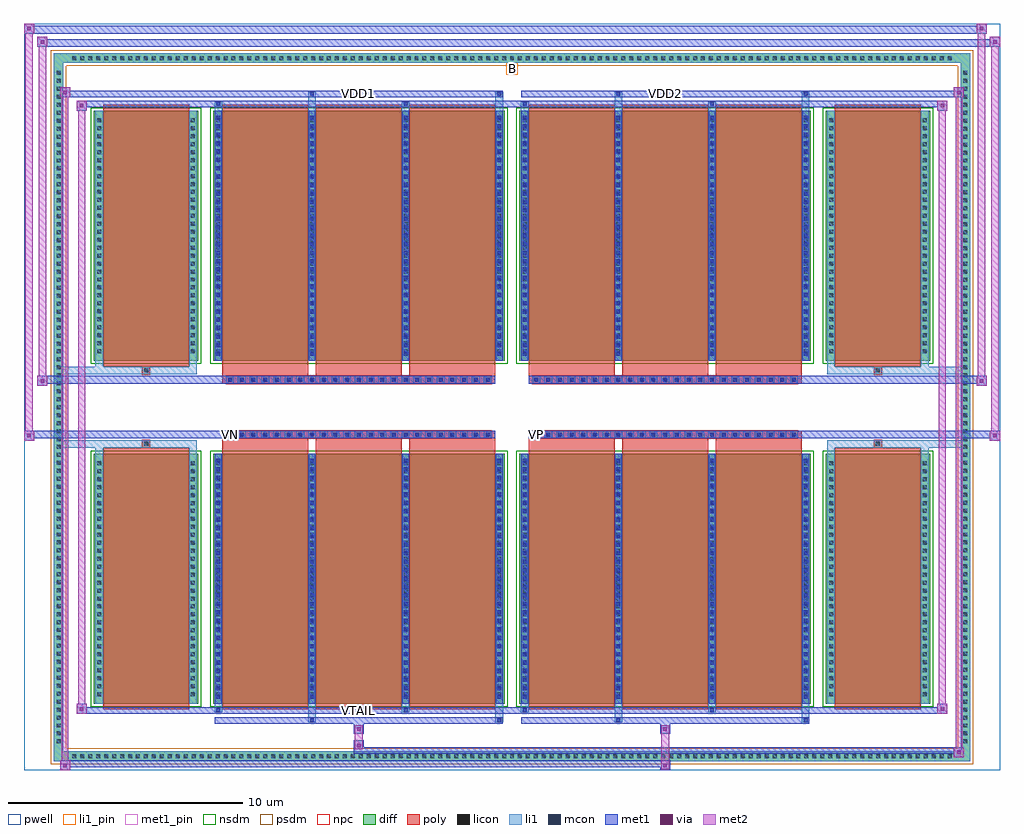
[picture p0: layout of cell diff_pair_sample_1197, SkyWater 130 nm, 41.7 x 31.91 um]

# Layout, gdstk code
import gdstk
lib = gdstk.Library(unit=1e-6, precision=5e-09)
def R(c, l, rs):  # rectangles x0, y0, x1, y1
    for r in rs: c.add(gdstk.rectangle(r[:2], r[2:], *l))
def A(c, l, x, y, w, h, nx, ny, dx, dy):  # array of equal rectangles
    R(c, l, [(x+i*dx, y+j*dy, x+i*dx+w, y+j*dy+h) for i in range(nx) for j in range(ny)])
def P(c, l, *ps):  # polygons
    for p in ps: c.add(gdstk.Polygon(p, *l))
pwell = (64, 44)
diff = (65, 20)
poly = (66, 20)
licon = (66, 44)
li1_pin = (67, 16)
li1 = (67, 20)
mcon = (67, 44)
met1_pin = (68, 16)
met1 = (68, 20)
via = (68, 44)
met2 = (69, 20)
nsdm = (93, 44)
psdm = (94, 20)
npc = (95, 20)

diff_pair_sample_1197 = lib.new_cell('diff_pair_sample_1197')
R(diff_pair_sample_1197, pwell, [(-20.85,-15.52,20.85,16.39), (-18.17,-13.71,-0.01,-0.805), (0.01,-13.71,18.17,-0.805), (-18.17,0.805,-0.01,13.71), (0.01,0.805,18.17,13.71)])
A(diff_pair_sample_1197, diff, -18.905, -15.12, 0.41, 0.41, 111, 2, 0.34, 29.83)
A(diff_pair_sample_1197, diff, -19.58, -14.485, 0.41, 0.41, 1, 85, 0, 0.34)
A(diff_pair_sample_1197, diff, 19.17, -14.485, 0.41, 0.41, 1, 85, 0, 0.34)
R(diff_pair_sample_1197, diff, [(-18.905,-15.12,18.905,-14.71), (-19.58,-14.485,-19.17,14.485), (19.17,-14.485,19.58,14.485), (-17.86,-12.665,-13.41,-1.985), (-12.77,-12.665,-0.32,-1.985), (0.32,-12.665,12.77,-1.985), (13.41,-12.665,17.86,-1.985), (-17.86,1.985,-13.41,12.665), (-12.77,1.985,-0.32,12.665), (0.32,1.985,12.77,12.665), (13.41,1.985,17.86,12.665), (-18.905,14.71,18.905,15.12)])
P(diff_pair_sample_1197, diff, [(19.58,15.12),(-19.58,15.12),(-19.58,-14.71),(-19.17,-14.71),(-19.17,14.71),(19.17,14.71),(19.17,-14.71),(-19.17,-14.71),(-19.58,-14.71),(-19.58,-15.12),(19.58,-15.12)])
A(diff_pair_sample_1197, poly, -12.38, -12.915, 3.67, 11.18, 3, 2, 4, 14.65)
A(diff_pair_sample_1197, poly, 0.71, -12.915, 3.67, 11.18, 3, 2, 4, 14.65)
A(diff_pair_sample_1197, poly, -12.38, -1.735, 3.67, 0.4, 3, 2, 4, 3.07)
A(diff_pair_sample_1197, poly, 0.71, -1.735, 3.67, 0.4, 3, 2, 4, 3.07)
A(diff_pair_sample_1197, poly, -12.21, -1.335, 0.33, 0.33, 23, 2, 0.5, 2.34)
A(diff_pair_sample_1197, poly, 0.88, -1.335, 0.33, 0.33, 23, 2, 0.5, 2.34)
R(diff_pair_sample_1197, poly, [(-17.47,-12.915,-13.8,-1.735), (13.8,-12.915,17.47,-1.735), (-15.8,-1.735,-15.47,-1.405), (-15.8,-1.735,-15.47,-1.405), (15.47,-1.735,15.8,-1.405), (15.47,-1.735,15.8,-1.405), (-12.38,-1.335,-0.71,-1.005), (0.71,-1.335,12.38,-1.005), (-12.38,1.005,-0.71,1.335), (0.71,1.005,12.38,1.335), (-15.8,1.405,-15.47,1.735), (-15.8,1.405,-15.47,1.735), (15.47,1.405,15.8,1.735), (15.47,1.405,15.8,1.735), (-17.47,1.735,-13.8,12.915), (13.8,1.735,17.47,12.915)])
A(diff_pair_sample_1197, licon, -18.785, -15, 0.17, 0.17, 111, 2, 0.34, 29.83)
A(diff_pair_sample_1197, licon, -19.46, -14.365, 0.17, 0.17, 1, 85, 0, 0.34)
A(diff_pair_sample_1197, licon, 19.29, -14.365, 0.17, 0.17, 1, 85, 0, 0.34)
A(diff_pair_sample_1197, licon, -17.72, -12.34, 0.17, 0.17, 1, 30, 0, 0.34)
A(diff_pair_sample_1197, licon, -13.72, -12.34, 0.17, 0.17, 1, 30, 0, 0.34)
A(diff_pair_sample_1197, licon, -12.63, -12.34, 0.17, 0.17, 4, 30, 4, 0.34)
A(diff_pair_sample_1197, licon, 0.46, -12.34, 0.17, 0.17, 4, 30, 4, 0.34)
A(diff_pair_sample_1197, licon, 13.55, -12.34, 0.17, 0.17, 1, 30, 0, 0.34)
A(diff_pair_sample_1197, licon, 17.55, -12.34, 0.17, 0.17, 1, 30, 0, 0.34)
A(diff_pair_sample_1197, licon, -12.13, -1.255, 0.17, 0.17, 23, 2, 0.5, 2.34)
A(diff_pair_sample_1197, licon, 0.96, -1.255, 0.17, 0.17, 23, 2, 0.5, 2.34)
A(diff_pair_sample_1197, licon, -17.72, 2.31, 0.17, 0.17, 1, 30, 0, 0.34)
A(diff_pair_sample_1197, licon, -13.72, 2.31, 0.17, 0.17, 1, 30, 0, 0.34)
A(diff_pair_sample_1197, licon, -12.63, 2.31, 0.17, 0.17, 4, 30, 4, 0.34)
A(diff_pair_sample_1197, licon, 0.46, 2.31, 0.17, 0.17, 4, 30, 4, 0.34)
A(diff_pair_sample_1197, licon, 13.55, 2.31, 0.17, 0.17, 1, 30, 0, 0.34)
A(diff_pair_sample_1197, licon, 17.55, 2.31, 0.17, 0.17, 1, 30, 0, 0.34)
R(diff_pair_sample_1197, licon, [(-15.72,-1.655,-15.55,-1.485), (15.55,-1.655,15.72,-1.485), (-15.72,1.485,-15.55,1.655), (15.55,1.485,15.72,1.655)])
R(diff_pair_sample_1197, li1_pin, [(-0.25,14.21,0.25,14.71)])
A(diff_pair_sample_1197, li1, -18.865, -15.08, 0.33, 0.33, 111, 2, 0.34, 29.83)
A(diff_pair_sample_1197, li1, -19.54, -14.445, 0.33, 0.33, 1, 85, 0, 0.34)
A(diff_pair_sample_1197, li1, 19.21, -14.445, 0.33, 0.33, 1, 85, 0, 0.34)
A(diff_pair_sample_1197, li1, -12.71, -12.665, 0.33, 10.68, 4, 2, 4, 14.65)
A(diff_pair_sample_1197, li1, 0.38, -12.665, 0.33, 10.68, 4, 2, 4, 14.65)
A(diff_pair_sample_1197, li1, -12.63, -12.45, 0.17, 0.17, 4, 29, 4, 0.36)
A(diff_pair_sample_1197, li1, -12.63, -12.45, 0.17, 10.25, 4, 2, 4, 14.65)
A(diff_pair_sample_1197, li1, 0.46, -12.45, 0.17, 0.17, 4, 29, 4, 0.36)
A(diff_pair_sample_1197, li1, 0.46, -12.45, 0.17, 10.25, 4, 2, 4, 14.65)
A(diff_pair_sample_1197, li1, -17.8, -12.42, 0.33, 0.33, 1, 30, 0, 0.34)
A(diff_pair_sample_1197, li1, -13.8, -12.42, 0.33, 0.33, 1, 30, 0, 0.34)
A(diff_pair_sample_1197, li1, -12.71, -12.42, 0.33, 0.33, 4, 30, 4, 0.34)
A(diff_pair_sample_1197, li1, 0.38, -12.42, 0.33, 0.33, 4, 30, 4, 0.34)
A(diff_pair_sample_1197, li1, 13.47, -12.42, 0.33, 0.33, 1, 30, 0, 0.34)
A(diff_pair_sample_1197, li1, 17.47, -12.42, 0.33, 0.33, 1, 30, 0, 0.34)
A(diff_pair_sample_1197, li1, -12.21, -1.335, 0.33, 0.33, 23, 2, 0.5, 2.34)
A(diff_pair_sample_1197, li1, 0.88, -1.335, 0.33, 0.33, 23, 2, 0.5, 2.34)
A(diff_pair_sample_1197, li1, -12.63, 2.2, 0.17, 0.17, 4, 29, 4, 0.36)
A(diff_pair_sample_1197, li1, 0.46, 2.2, 0.17, 0.17, 4, 29, 4, 0.36)
A(diff_pair_sample_1197, li1, -17.8, 2.23, 0.33, 0.33, 1, 30, 0, 0.34)
A(diff_pair_sample_1197, li1, -13.8, 2.23, 0.33, 0.33, 1, 30, 0, 0.34)
A(diff_pair_sample_1197, li1, -12.71, 2.23, 0.33, 0.33, 4, 30, 4, 0.34)
A(diff_pair_sample_1197, li1, 0.38, 2.23, 0.33, 0.33, 4, 30, 4, 0.34)
A(diff_pair_sample_1197, li1, 13.47, 2.23, 0.33, 0.33, 1, 30, 0, 0.34)
A(diff_pair_sample_1197, li1, 17.47, 2.23, 0.33, 0.33, 1, 30, 0, 0.34)
R(diff_pair_sample_1197, li1, [(-19.58,-15.12,-19.17,-14.71), (-19.58,-15.12,-19.17,-14.71), (-19.17,-15.12,19.17,-14.71), (19.17,-15.12,19.58,-14.71), (19.17,-15.12,19.58,-14.71), (-19.58,-14.71,-19.17,14.71), (19.17,-14.71,19.58,14.71), (-8.71,-13.47,-8.38,-12.665), (-8.63,-13.47,-8.46,-13.3), (-0.71,-13.47,-0.38,-12.665), (-0.63,-13.47,-0.46,-13.3), (4.38,-13.47,4.71,-12.665), (4.46,-13.47,4.63,-13.3), (12.38,-13.47,12.71,-12.665), (12.46,-13.47,12.63,-13.3), (-12.71,-13.04,-12.38,-12.665), (-12.63,-13.04,-12.46,-12.87), (-4.71,-13.04,-4.38,-12.665), (-4.63,-13.04,-4.46,-12.87), (0.38,-13.04,0.71,-12.665), (0.46,-13.04,0.63,-12.87), (8.38,-13.04,8.71,-12.665), (8.46,-13.04,8.63,-12.87), (-17.8,-12.665,-17.47,-1.985), (-13.8,-12.665,-13.47,-1.985), (13.47,-12.665,13.8,-1.985), (17.47,-12.665,17.8,-1.985), (-17.8,-1.985,-17.47,-1.405), (-13.8,-1.985,-13.47,-1.405), (13.47,-1.985,13.8,-1.405), (17.47,-1.985,17.8,-1.405), (-19.58,-1.735,-15.8,-1.405), (-17.8,-1.735,-15.8,-1.405), (-15.8,-1.735,-15.47,-1.405), (-15.47,-1.735,-13.47,-1.405), (13.47,-1.735,15.47,-1.405), (15.47,-1.735,15.8,-1.405), (15.47,-1.735,19.58,-1.405), (15.8,-1.735,17.8,-1.405), (-19.58,1.405,-15.8,1.735), (-17.8,1.405,-15.8,1.735), (-17.8,1.405,-17.47,1.985), (-15.8,1.405,-15.47,1.735), (-15.47,1.405,-13.47,1.735), (-13.8,1.405,-13.47,1.985), (13.47,1.405,15.47,1.735), (13.47,1.405,13.8,1.985), (15.47,1.405,15.8,1.735), (15.47,1.405,19.58,1.735), (15.8,1.405,17.8,1.735), (17.47,1.405,17.8,1.985), (-17.8,1.985,-17.47,12.665), (-13.8,1.985,-13.47,12.665), (13.47,1.985,13.8,12.665), (17.47,1.985,17.8,12.665), (-12.71,12.665,-12.38,13.04), (-8.71,12.665,-8.38,13.47), (-4.71,12.665,-4.38,13.04), (-0.71,12.665,-0.38,13.47), (0.38,12.665,0.71,13.04), (4.38,12.665,4.71,13.47), (8.38,12.665,8.71,13.04), (12.38,12.665,12.71,13.47), (-12.63,12.87,-12.46,13.04), (-4.63,12.87,-4.46,13.04), (0.46,12.87,0.63,13.04), (8.46,12.87,8.63,13.04), (-8.63,13.3,-8.46,13.47), (-0.63,13.3,-0.46,13.47), (4.46,13.3,4.63,13.47), (12.46,13.3,12.63,13.47), (-19.58,14.71,-19.17,15.12), (-19.58,14.71,-19.17,15.12), (-19.17,14.71,19.17,15.12), (19.17,14.71,19.58,15.12), (19.17,14.71,19.58,15.12)])
A(diff_pair_sample_1197, mcon, -12.63, -12.45, 0.17, 0.17, 4, 29, 4, 0.36)
A(diff_pair_sample_1197, mcon, 0.46, -12.45, 0.17, 0.17, 4, 29, 4, 0.36)
A(diff_pair_sample_1197, mcon, -12.13, -1.255, 0.17, 0.17, 23, 2, 0.5, 2.34)
A(diff_pair_sample_1197, mcon, 0.96, -1.255, 0.17, 0.17, 23, 2, 0.5, 2.34)
A(diff_pair_sample_1197, mcon, -12.63, 2.2, 0.17, 0.17, 4, 29, 4, 0.36)
A(diff_pair_sample_1197, mcon, 0.46, 2.2, 0.17, 0.17, 4, 29, 4, 0.36)
R(diff_pair_sample_1197, mcon, [(-8.63,-13.47,-8.46,-13.3), (-0.63,-13.47,-0.46,-13.3), (4.46,-13.47,4.63,-13.3), (12.46,-13.47,12.63,-13.3), (-12.63,-13.04,-12.46,-12.87), (-4.63,-13.04,-4.46,-12.87), (0.46,-13.04,0.63,-12.87), (8.46,-13.04,8.63,-12.87), (-12.63,12.87,-12.46,13.04), (-4.63,12.87,-4.46,13.04), (0.46,12.87,0.63,13.04), (8.46,12.87,8.63,13.04), (-8.63,13.3,-8.46,13.47), (-0.63,13.3,-0.46,13.47), (4.46,13.3,4.63,13.47), (12.46,13.3,12.63,13.47)])
R(diff_pair_sample_1197, met1_pin, [(-6.68,-13.08,-6.41,-12.81), (-12.18,-1.295,-11.91,-1.025), (0.91,-1.295,1.18,-1.025), (-6.68,13.26,-6.41,13.53), (6.41,13.26,6.68,13.53)])
A(diff_pair_sample_1197, met1, -12.69, -12.665, 0.29, 10.68, 4, 2, 4, 14.65)
A(diff_pair_sample_1197, met1, 0.4, -12.665, 0.29, 10.68, 4, 2, 4, 14.65)
A(diff_pair_sample_1197, met1, -12.69, -12.51, 0.29, 0.29, 4, 29, 4, 0.36)
A(diff_pair_sample_1197, met1, 0.4, -12.51, 0.29, 0.29, 4, 29, 4, 0.36)
A(diff_pair_sample_1197, met1, -12.19, -1.315, 0.29, 0.29, 23, 2, 0.5, 2.34)
A(diff_pair_sample_1197, met1, 0.9, -1.315, 0.29, 0.29, 23, 2, 0.5, 2.34)
A(diff_pair_sample_1197, met1, -12.69, 2.14, 0.29, 0.29, 4, 29, 4, 0.36)
A(diff_pair_sample_1197, met1, 0.4, 2.14, 0.29, 0.29, 4, 29, 4, 0.36)
R(diff_pair_sample_1197, met1, [(-19.31,-15.52,-18.88,-15.09), (6.33,-15.52,6.76,-15.09), (-19.31,-15.38,6.76,-15.09), (18.88,-14.95,19.31,-14.52), (-6.76,-14.81,19.31,-14.52), (-6.76,-14.67,-6.33,-14.24), (-6.76,-13.96,-6.33,-13.53), (6.33,-13.96,6.76,-13.53), (-12.69,-13.53,-0.4,-13.24), (-8.69,-13.53,-8.4,-13.24), (-0.69,-13.53,-0.4,-13.24), (0.4,-13.53,12.69,-13.24), (4.4,-13.53,4.69,-13.24), (12.4,-13.53,12.69,-13.24), (-18.6,-13.1,-18.17,-12.67), (-18.6,-13.1,-12.69,-12.81), (-12.69,-13.1,-12.4,-12.81), (-12.69,-13.1,-0.4,-12.81), (-4.69,-13.1,-4.4,-12.81), (-0.4,-13.1,0.4,-12.81), (0.4,-13.1,0.69,-12.81), (0.4,-13.1,12.69,-12.81), (8.4,-13.1,8.69,-12.81), (12.69,-13.1,18.6,-12.81), (18.17,-13.1,18.6,-12.67), (-20.85,-1.435,-20.42,-1.005), (20.42,-1.435,20.85,-1.005), (-20.85,-1.335,-0.71,-1.005), (-12.38,-1.335,-0.71,-1.005), (0.71,-1.335,12.38,-1.005), (0.71,-1.335,20.85,-1.005), (-20.28,0.905,-19.85,1.335), (19.85,0.905,20.28,1.335), (-20.28,1.005,-12.38,1.335), (-12.38,1.005,-0.71,1.335), (0.71,1.005,12.38,1.335), (12.38,1.005,20.28,1.335), (-18.6,12.67,-18.17,13.1), (18.17,12.67,18.6,13.1), (-18.6,12.81,-12.69,13.1), (-12.69,12.81,-12.4,13.1), (-12.69,12.81,-0.4,13.1), (-4.69,12.81,-4.4,13.1), (-0.4,12.81,0.4,13.1), (0.4,12.81,0.69,13.1), (0.4,12.81,12.69,13.1), (8.4,12.81,8.69,13.1), (12.69,12.81,18.6,13.1), (-19.31,13.24,-18.88,13.67), (-19.31,13.24,-12.69,13.53), (-12.69,13.24,-0.4,13.53), (-8.69,13.24,-8.4,13.53), (-0.69,13.24,-0.4,13.53), (0.4,13.24,12.69,13.53), (4.4,13.24,4.69,13.53), (12.4,13.24,12.69,13.53), (12.69,13.24,19.31,13.53), (18.88,13.24,19.31,13.67), (-20.28,15.39,-19.85,15.82), (-20.28,15.39,-18.17,15.72), (-18.17,15.39,18.17,15.72), (18.17,15.39,20.85,15.72), (20.42,15.39,20.85,15.82), (-20.85,15.96,-20.42,16.39), (-20.85,15.96,-18.17,16.29), (-18.17,15.96,18.17,16.29), (18.17,15.96,20.28,16.29), (19.85,15.96,20.28,16.39)])
R(diff_pair_sample_1197, via, [(-19.17,-15.38,-19.02,-15.23), (6.47,-15.38,6.62,-15.23), (19.02,-14.81,19.17,-14.66), (-6.62,-14.53,-6.47,-14.38), (-6.62,-13.82,-6.47,-13.67), (6.47,-13.82,6.62,-13.67), (-18.46,-12.96,-18.31,-12.81), (18.31,-12.96,18.46,-12.81), (-20.71,-1.295,-20.56,-1.145), (20.56,-1.295,20.71,-1.145), (-20.14,1.045,-19.99,1.195), (19.99,1.045,20.14,1.195), (-18.46,12.81,-18.31,12.96), (18.31,12.81,18.46,12.96), (-19.17,13.38,-19.02,13.53), (19.02,13.38,19.17,13.53), (-20.14,15.53,-19.99,15.68), (20.56,15.53,20.71,15.68), (-20.71,16.1,-20.56,16.25), (19.99,16.1,20.14,16.25)])
R(diff_pair_sample_1197, met2, [(-19.31,-15.52,-18.88,-15.09), (-19.24,-15.52,-18.95,13.67), (-18.95,-15.52,-18.88,-15.09), (-19.26,-15.47,-18.93,-15.14), (6.38,-15.47,6.71,-15.14), (6.38,-15.14,6.71,-13.91), (18.88,-14.95,19.31,-14.52), (18.95,-14.95,19.24,13.67), (19.24,-14.95,19.31,-14.52), (18.93,-14.9,19.26,-14.57), (-6.71,-14.62,-6.38,-14.29), (-6.71,-14.29,-6.38,-13.91), (-6.71,-13.91,-6.38,-13.58), (6.38,-13.91,6.71,-13.58), (-18.6,-13.1,-18.17,-12.67), (-18.53,-13.1,-18.24,13.1), (-18.24,-13.1,-18.17,-12.67), (18.17,-13.1,18.6,-12.67), (18.24,-13.1,18.53,13.1), (18.53,-13.1,18.6,-12.67), (-18.55,-13.05,-18.22,-12.72), (18.22,-13.05,18.55,-12.72), (-20.85,-1.435,-20.42,-1.005), (-20.8,-1.435,-20.47,16.39), (-20.47,-1.435,-20.42,-1.005), (20.42,-1.435,20.85,-1.005), (20.47,-1.435,20.8,15.82), (20.8,-1.435,20.85,-1.005), (-20.8,-1.385,-20.47,-1.055), (20.47,-1.385,20.8,-1.055), (-20.28,0.905,-19.85,1.335), (-20.23,0.905,-19.9,15.82), (-19.9,0.905,-19.85,1.335), (19.85,0.905,20.28,1.335), (19.9,0.905,20.23,16.39), (20.23,0.905,20.28,1.335), (-20.23,0.955,-19.9,1.285), (19.9,0.955,20.23,1.285), (-18.6,12.67,-18.17,13.1), (-18.24,12.67,-18.17,13.1), (18.17,12.67,18.6,13.1), (18.53,12.67,18.6,13.1), (-18.55,12.72,-18.22,13.05), (18.22,12.72,18.55,13.05), (-19.31,13.24,-18.88,13.67), (-18.95,13.24,-18.88,13.67), (18.88,13.24,19.31,13.67), (19.24,13.24,19.31,13.67), (-19.26,13.29,-18.93,13.62), (18.93,13.29,19.26,13.62), (-20.28,15.39,-19.85,15.82), (-19.9,15.39,-19.85,15.82), (20.42,15.39,20.85,15.82), (20.8,15.39,20.85,15.82), (-20.23,15.44,-19.9,15.77), (20.47,15.44,20.8,15.77), (-20.85,15.96,-20.42,16.39), (-20.47,15.96,-20.42,16.39), (19.85,15.96,20.28,16.39), (20.23,15.96,20.28,16.39), (-20.8,16.01,-20.47,16.34), (19.9,16.01,20.23,16.34)])
R(diff_pair_sample_1197, nsdm, [(-17.99,-12.795,-13.28,-1.855), (-12.9,-12.795,-0.19,-1.855), (0.19,-12.795,12.9,-1.855), (13.28,-12.795,17.99,-1.855), (-17.99,1.855,-13.28,12.795), (-12.9,1.855,-0.19,12.795), (0.19,1.855,12.9,12.795), (13.28,1.855,17.99,12.795)])
P(diff_pair_sample_1197, psdm, [(19.71,15.25),(-19.71,15.25),(-19.71,-14.58),(-19.04,-14.58),(-19.04,14.58),(19.04,14.58),(19.04,-14.58),(-19.04,-14.58),(-19.71,-14.58),(-19.71,-15.25),(19.71,-15.25)])
A(diff_pair_sample_1197, npc, -12.23, -1.355, 0.37, 0.37, 23, 2, 0.5, 2.34)
A(diff_pair_sample_1197, npc, 0.86, -1.355, 0.37, 0.37, 23, 2, 0.5, 2.34)
R(diff_pair_sample_1197, npc, [(-15.82,-1.755,-15.45,-1.385), (15.45,-1.755,15.82,-1.385), (-12.23,-1.355,-11.36,-0.985), (-12.23,-1.355,-11.36,-0.985), (-11.73,-1.355,-10.86,-0.985), (-11.73,-1.355,-10.86,-0.985), (-11.23,-1.355,-10.36,-0.985), (-11.23,-1.355,-10.36,-0.985), (-10.73,-1.355,-9.86,-0.985), (-10.73,-1.355,-9.86,-0.985), (-10.23,-1.355,-9.36,-0.985), (-10.23,-1.355,-9.36,-0.985), (-9.73,-1.355,-8.86,-0.985), (-9.73,-1.355,-8.86,-0.985), (-9.23,-1.355,-8.36,-0.985), (-9.23,-1.355,-8.36,-0.985), (-8.73,-1.355,-7.86,-0.985), (-8.73,-1.355,-7.86,-0.985), (-8.23,-1.355,-7.36,-0.985), (-8.23,-1.355,-7.36,-0.985), (-7.73,-1.355,-6.86,-0.985), (-7.73,-1.355,-6.86,-0.985), (-7.23,-1.355,-6.36,-0.985), (-7.23,-1.355,-6.36,-0.985), (-6.73,-1.355,-5.86,-0.985), (-6.73,-1.355,-5.86,-0.985), (-6.23,-1.355,-5.36,-0.985), (-6.23,-1.355,-5.36,-0.985), (-5.73,-1.355,-4.86,-0.985), (-5.73,-1.355,-4.86,-0.985), (-5.23,-1.355,-4.36,-0.985), (-5.23,-1.355,-4.36,-0.985), (-4.73,-1.355,-3.86,-0.985), (-4.73,-1.355,-3.86,-0.985), (-4.23,-1.355,-3.36,-0.985), (-4.23,-1.355,-3.36,-0.985), (-3.73,-1.355,-2.86,-0.985), (-3.73,-1.355,-2.86,-0.985), (-3.23,-1.355,-2.36,-0.985), (-3.23,-1.355,-2.36,-0.985), (-2.73,-1.355,-1.86,-0.985), (-2.73,-1.355,-1.86,-0.985), (-2.23,-1.355,-1.36,-0.985), (-2.23,-1.355,-1.36,-0.985), (-1.73,-1.355,-0.86,-0.985), (-1.73,-1.355,-0.86,-0.985), (0.86,-1.355,1.73,-0.985), (0.86,-1.355,1.73,-0.985), (1.36,-1.355,2.23,-0.985), (1.36,-1.355,2.23,-0.985), (1.86,-1.355,2.73,-0.985), (1.86,-1.355,2.73,-0.985), (2.36,-1.355,3.23,-0.985), (2.36,-1.355,3.23,-0.985), (2.86,-1.355,3.73,-0.985), (2.86,-1.355,3.73,-0.985), (3.36,-1.355,4.23,-0.985), (3.36,-1.355,4.23,-0.985), (3.86,-1.355,4.73,-0.985), (3.86,-1.355,4.73,-0.985), (4.36,-1.355,5.23,-0.985), (4.36,-1.355,5.23,-0.985), (4.86,-1.355,5.73,-0.985), (4.86,-1.355,5.73,-0.985), (5.36,-1.355,6.23,-0.985), (5.36,-1.355,6.23,-0.985), (5.86,-1.355,6.73,-0.985), (5.86,-1.355,6.73,-0.985), (6.36,-1.355,7.23,-0.985), (6.36,-1.355,7.23,-0.985), (6.86,-1.355,7.73,-0.985), (6.86,-1.355,7.73,-0.985), (7.36,-1.355,8.23,-0.985), (7.36,-1.355,8.23,-0.985), (7.86,-1.355,8.73,-0.985), (7.86,-1.355,8.73,-0.985), (8.36,-1.355,9.23,-0.985), (8.36,-1.355,9.23,-0.985), (8.86,-1.355,9.73,-0.985), (8.86,-1.355,9.73,-0.985), (9.36,-1.355,10.23,-0.985), (9.36,-1.355,10.23,-0.985), (9.86,-1.355,10.73,-0.985), (9.86,-1.355,10.73,-0.985), (10.36,-1.355,11.23,-0.985), (10.36,-1.355,11.23,-0.985), (10.86,-1.355,11.73,-0.985), (10.86,-1.355,11.73,-0.985), (11.36,-1.355,12.23,-0.985), (11.36,-1.355,12.23,-0.985), (-12.23,0.985,-11.36,1.355), (-12.23,0.985,-11.36,1.355), (-11.73,0.985,-10.86,1.355), (-11.73,0.985,-10.86,1.355), (-11.23,0.985,-10.36,1.355), (-11.23,0.985,-10.36,1.355), (-10.73,0.985,-9.86,1.355), (-10.73,0.985,-9.86,1.355), (-10.23,0.985,-9.36,1.355), (-10.23,0.985,-9.36,1.355), (-9.73,0.985,-8.86,1.355), (-9.73,0.985,-8.86,1.355), (-9.23,0.985,-8.36,1.355), (-9.23,0.985,-8.36,1.355), (-8.73,0.985,-7.86,1.355), (-8.73,0.985,-7.86,1.355), (-8.23,0.985,-7.36,1.355), (-8.23,0.985,-7.36,1.355), (-7.73,0.985,-6.86,1.355), (-7.73,0.985,-6.86,1.355), (-7.23,0.985,-6.36,1.355), (-7.23,0.985,-6.36,1.355), (-6.73,0.985,-5.86,1.355), (-6.73,0.985,-5.86,1.355), (-6.23,0.985,-5.36,1.355), (-6.23,0.985,-5.36,1.355), (-5.73,0.985,-4.86,1.355), (-5.73,0.985,-4.86,1.355), (-5.23,0.985,-4.36,1.355), (-5.23,0.985,-4.36,1.355), (-4.73,0.985,-3.86,1.355), (-4.73,0.985,-3.86,1.355), (-4.23,0.985,-3.36,1.355), (-4.23,0.985,-3.36,1.355), (-3.73,0.985,-2.86,1.355), (-3.73,0.985,-2.86,1.355), (-3.23,0.985,-2.36,1.355), (-3.23,0.985,-2.36,1.355), (-2.73,0.985,-1.86,1.355), (-2.73,0.985,-1.86,1.355), (-2.23,0.985,-1.36,1.355), (-2.23,0.985,-1.36,1.355), (-1.73,0.985,-0.86,1.355), (-1.73,0.985,-0.86,1.355), (0.86,0.985,1.73,1.355), (0.86,0.985,1.73,1.355), (1.36,0.985,2.23,1.355), (1.36,0.985,2.23,1.355), (1.86,0.985,2.73,1.355), (1.86,0.985,2.73,1.355), (2.36,0.985,3.23,1.355), (2.36,0.985,3.23,1.355), (2.86,0.985,3.73,1.355), (2.86,0.985,3.73,1.355), (3.36,0.985,4.23,1.355), (3.36,0.985,4.23,1.355), (3.86,0.985,4.73,1.355), (3.86,0.985,4.73,1.355), (4.36,0.985,5.23,1.355), (4.36,0.985,5.23,1.355), (4.86,0.985,5.73,1.355), (4.86,0.985,5.73,1.355), (5.36,0.985,6.23,1.355), (5.36,0.985,6.23,1.355), (5.86,0.985,6.73,1.355), (5.86,0.985,6.73,1.355), (6.36,0.985,7.23,1.355), (6.36,0.985,7.23,1.355), (6.86,0.985,7.73,1.355), (6.86,0.985,7.73,1.355), (7.36,0.985,8.23,1.355), (7.36,0.985,8.23,1.355), (7.86,0.985,8.73,1.355), (7.86,0.985,8.73,1.355), (8.36,0.985,9.23,1.355), (8.36,0.985,9.23,1.355), (8.86,0.985,9.73,1.355), (8.86,0.985,9.73,1.355), (9.36,0.985,10.23,1.355), (9.36,0.985,10.23,1.355), (9.86,0.985,10.73,1.355), (9.86,0.985,10.73,1.355), (10.36,0.985,11.23,1.355), (10.36,0.985,11.23,1.355), (10.86,0.985,11.73,1.355), (10.86,0.985,11.73,1.355), (11.36,0.985,12.23,1.355), (11.36,0.985,12.23,1.355), (-15.82,1.385,-15.45,1.755), (15.45,1.385,15.82,1.755)])
diff_pair_sample_1197.add(gdstk.Label('VTAIL', (-6.545,-12.945), layer=68, texttype=5))
diff_pair_sample_1197.add(gdstk.Label('VN', (-12.045,-1.16), layer=68, texttype=5))
diff_pair_sample_1197.add(gdstk.Label('VP', (1.045,-1.16), layer=68, texttype=5))
diff_pair_sample_1197.add(gdstk.Label('B', (0,14.46), layer=67, texttype=5))
diff_pair_sample_1197.add(gdstk.Label('VDD2', (6.545,13.395), layer=68, texttype=5))
diff_pair_sample_1197.add(gdstk.Label('VDD1', (-6.545,13.395), layer=68, texttype=5))

lib.write_gds('diff_pair_sample_1197.gds')
